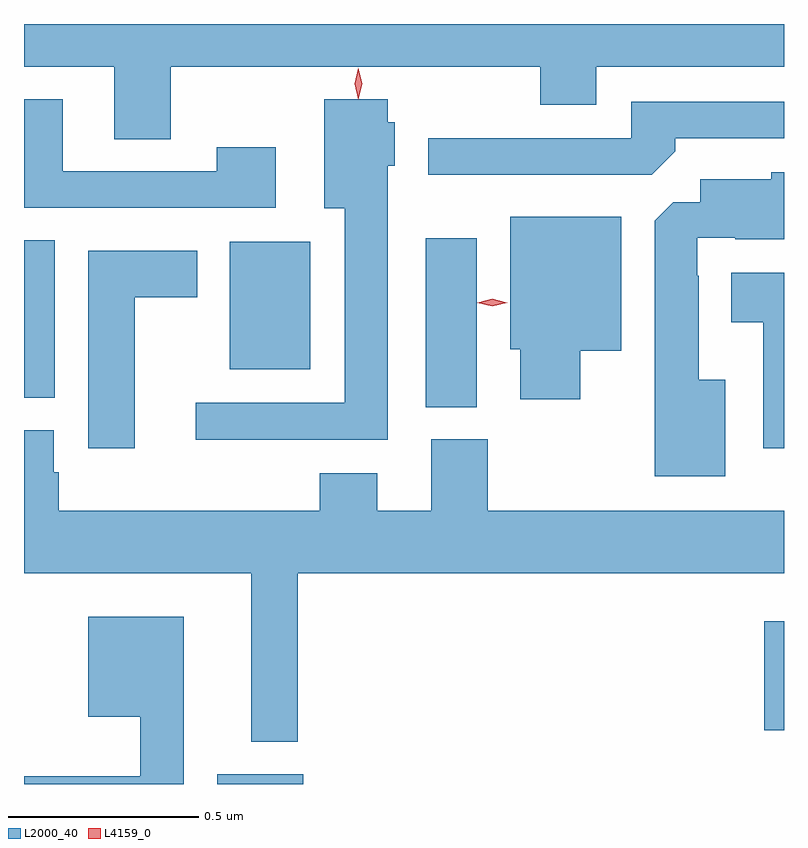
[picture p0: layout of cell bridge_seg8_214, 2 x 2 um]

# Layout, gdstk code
import gdstk
lib = gdstk.Library(unit=1e-6, precision=1e-09)
def R(c, l, rs):  # rectangles x0, y0, x1, y1
    for r in rs: c.add(gdstk.rectangle(r[:2], r[2:], *l))
def P(c, l, *ps):  # polygons
    for p in ps: c.add(gdstk.Polygon(p, *l))
L2000_40 = (2000, 40)
L4159_0 = (4159, 0)

bridge_seg8_214 = lib.new_cell('bridge_seg8_214')
R(bridge_seg8_214, L2000_40, [(153.713,1121.273,153.94,1121.299), (155.153,1121.414,155.205,1121.701), (154.262,1122.265,154.396,1122.709), (153.205,1122.289,153.286,1122.704), (153.746,1122.365,153.958,1122.7)])
P(bridge_seg8_214, L2000_40, [(153.591,1123.16),(154.564,1123.16),(154.564,1123.061),(154.711,1123.061),(154.711,1123.16),(155.205,1123.16),(155.205,1123.273),(153.205,1123.273),(153.205,1123.16),(153.443,1123.16),(153.443,1122.97),(153.591,1122.97)],
  [(154.162,1122.9),(154.18,1122.9),(154.18,1123.014),(154.162,1123.014),(154.162,1123.075),(153.995,1123.075),(153.995,1122.788),(154.049,1122.788),(154.049,1122.276),(153.657,1122.276),(153.657,1122.179),(154.162,1122.179)],
  [(153.868,1122.949),(153.712,1122.949),(153.712,1122.885),(153.307,1122.885),(153.307,1123.075),(153.205,1123.075),(153.205,1122.789),(153.868,1122.789)],
  [(154.919,1122.938),(154.919,1122.972),(155.205,1122.972),(155.205,1123.068),(154.803,1123.068),(154.803,1122.972),(154.269,1122.972),(154.269,1122.876),(154.857,1122.876)],
  [(155.05,1122.337),(154.981,1122.337),(154.981,1122.611),(154.977,1122.611),(154.977,1122.711),(155.077,1122.711),(155.077,1122.707),(155.205,1122.707),(155.205,1122.883),(155.172,1122.883),(155.172,1122.865),(154.985,1122.865),(154.985,1122.804),(154.914,1122.804),(154.865,1122.755),(154.865,1122.083),(155.05,1122.083)],
  [(154.669,1122.413),(154.777,1122.413),(154.777,1122.766),(154.484,1122.766),(154.484,1122.417),(154.511,1122.417),(154.511,1122.285),(154.669,1122.285)],
  [(153.496,1122.554),(153.661,1122.554),(153.661,1122.676),(153.374,1122.676),(153.374,1122.156),(153.496,1122.156)],
  [(155.205,1122.619),(155.066,1122.619),(155.066,1122.488),(155.15,1122.488),(155.15,1122.156),(155.205,1122.156)],
  [(153.925,1121.828),(155.205,1121.828),(155.205,1121.992),(154.425,1121.992),(154.425,1122.18),(154.277,1122.18),(154.277,1121.992),(154.135,1121.992),(154.135,1122.091),(153.983,1122.091),(153.983,1121.992),(153.296,1121.992),(153.296,1122.093),(153.283,1122.093),(153.283,1122.204),(153.205,1122.204),(153.205,1121.828),(153.803,1121.828),(153.803,1121.384),(153.925,1121.384)],
  [(153.625,1121.713),(153.374,1121.713),(153.374,1121.45),(153.511,1121.45),(153.511,1121.293),(153.205,1121.293),(153.205,1121.273),(153.625,1121.273)])
P(bridge_seg8_214, L4159_0, [(154.437,1122.53),(154.398,1122.54),(154.398,1122.54),(154.398,1122.54),(154.437,1122.55),(154.477,1122.54),(154.477,1122.54),(154.477,1122.54)],
  [(154.085,1123.074),(154.085,1123.075),(154.075,1123.116),(154.085,1123.156),(154.085,1123.157),(154.085,1123.156),(154.095,1123.116),(154.085,1123.075)])

lib.write_gds('bridge_seg8_214.gds')
